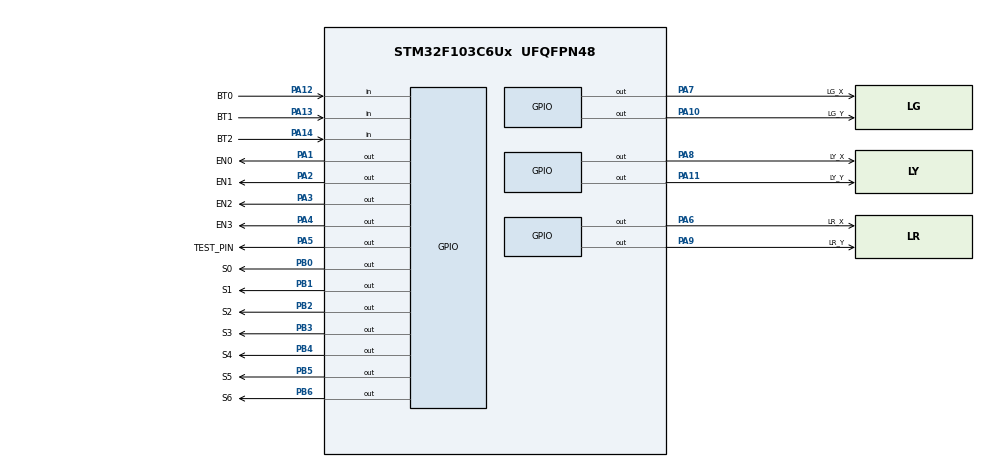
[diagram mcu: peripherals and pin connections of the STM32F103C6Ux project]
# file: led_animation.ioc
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Mcu.Family=STM32F1
Mcu.Name=STM32F103C6Ux
Mcu.Package=UFQFPN48
NVIC.PriorityGroup=NVIC_PRIORITYGROUP_4
NVIC.TIM2_IRQn=true\:0\:0\:false\:false\:true\:true\:true
PA1.GPIO_Label=EN0
PA1.Signal=GPIO_Output
PA10.GPIO_Label=LG_Y
PA10.Signal=GPIO_Output
PA11.GPIO_Label=LY_Y
PA11.Signal=GPIO_Output
PA12.GPIO_Label=BT0
PA12.GPIO_PuPd=GPIO_PULLUP
PA12.Signal=GPIO_Input
PA13.GPIO_Label=BT1
PA13.GPIO_PuPd=GPIO_PULLUP
PA13.Signal=GPIO_Input
PA14.GPIO_Label=BT2
PA14.GPIO_PuPd=GPIO_PULLUP
PA14.Signal=GPIO_Input
PA2.GPIO_Label=EN1
PA2.Signal=GPIO_Output
PA3.GPIO_Label=EN2
PA3.Signal=GPIO_Output
PA4.GPIO_Label=EN3
PA4.Signal=GPIO_Output
PA5.GPIO_Label=TEST_PIN
PA5.Signal=GPIO_Output
PA6.GPIO_Label=LR_X
PA6.Signal=GPIO_Output
PA7.GPIO_Label=LG_X
PA7.Signal=GPIO_Output
PA8.GPIO_Label=LY_X
PA8.Signal=GPIO_Output
PA9.GPIO_Label=LR_Y
PA9.Signal=GPIO_Output
PB0.GPIO_Label=S0
PB0.Signal=GPIO_Output
PB1.GPIO_Label=S1
PB1.Signal=GPIO_Output
PB2.GPIO_Label=S2
PB2.Signal=GPIO_Output
PB3.GPIO_Label=S3
PB3.Signal=GPIO_Output
PB4.GPIO_Label=S4
PB4.Signal=GPIO_Output
PB5.GPIO_Label=S5
PB5.Signal=GPIO_Output
PB6.GPIO_Label=S6
PB6.Signal=GPIO_Output
ProjectManager.HeapSize=0x200
ProjectManager.StackSize=0x400
ProjectManager.TargetToolchain=STM32CubeIDE
RCC.APB1Freq_Value=8000000
RCC.APB2Freq_Value=8000000
TIM2.Period=9
TIM2.Prescaler=7999
VP_SYS_VS_ND.Mode=No_Debug
VP_TIM2_VS_ClockSourceINT.Mode=Internal
board=custom

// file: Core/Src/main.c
/* USER CODE BEGIN Header */
/**
  ******************************************************************************
  * @file           : main.c
  * @brief          : Main program body
  ******************************************************************************
  * @attention
  *
  * <h2><center>&copy; Copyright (c) 2024 STMicroelectronics.
  * All rights reserved.</center></h2>
  *
  * This software component is licensed by ST under BSD 3-Clause license,
  * the "License"; You may not use this file except in compliance with the
  * License. You may obtain a copy of the License at:
  *                        opensource.org/licenses/BSD-3-Clause
  *
  ******************************************************************************
  */
/* USER CODE END Header */
#include "main.h"

/* USER CODE BEGIN Includes */
#include "timer.h"
#include "button.h"
#include "global.h"
#include "led7_seg.h"
#include "traffic_light.h"
#include "fsm_auto.h"
#include "fsm_manual.h"
#include "fsm_setting.h"
/* USER CODE END Includes */

TIM_HandleTypeDef htim2;

void SystemClock_Config(void);
static void MX_GPIO_Init(void);
static void MX_TIM2_Init(void);

int main(void)
{

  /* MCU Configuration--------------------------------------------------------*/

  /* Reset of all peripherals, Initializes the Flash interface and the Systick. */
  HAL_Init();

  /* Configure the system clock */
  SystemClock_Config();

  /* Initialize all configured peripherals */
  MX_GPIO_Init();
  MX_TIM2_Init();
  /* USER CODE BEGIN 2 */
  HAL_TIM_Base_Start_IT (& htim2 ) ;
  /* USER CODE END 2 */

  /* Infinite loop */
  /* USER CODE BEGIN WHILE */

  SCH_Init();
  SCH_Add_Task(fsm_auto_run, 0, 10);
  SCH_Add_Task(fsm_manual_run, 10, 10);
  SCH_Add_Task(fsm_setting_run, 10, 10);
  SCH_Add_Task(getkeyInput, 10, 10);
  SCH_Add_Task(auto_red_green_run, 10, 0);
  SCH_Add_Task(per_second, 20, 1000);
  SCH_Add_Task(scanled, 20, 250);
  led_traffic(RED_GREEN);

  while (1)
  {

	  SCH_Dispatch_Task();

    /* USER CODE END WHILE */

  }
}

void SystemClock_Config(void)
{
  RCC_OscInitTypeDef RCC_OscInitStruct = {0};
  RCC_ClkInitTypeDef RCC_ClkInitStruct = {0};

  /** Initializes the RCC Oscillators according to the specified parameters
  * in the RCC_OscInitTypeDef structure.
  */
  RCC_OscInitStruct.OscillatorType = RCC_OSCILLATORTYPE_HSI;
  RCC_OscInitStruct.HSIState = RCC_HSI_ON;
  RCC_OscInitStruct.HSICalibrationValue = RCC_HSICALIBRATION_DEFAULT;
  RCC_OscInitStruct.PLL.PLLState = RCC_PLL_NONE;
  if (HAL_RCC_OscConfig(&RCC_OscInitStruct) != HAL_OK)
  {
    Error_Handler();
  }
  /** Initializes the CPU, AHB and APB buses clocks
  */
  RCC_ClkInitStruct.ClockType = RCC_CLOCKTYPE_HCLK|RCC_CLOCKTYPE_SYSCLK
                              |RCC_CLOCKTYPE_PCLK1|RCC_CLOCKTYPE_PCLK2;
  RCC_ClkInitStruct.SYSCLKSource = RCC_SYSCLKSOURCE_HSI;
  RCC_ClkInitStruct.AHBCLKDivider = RCC_SYSCLK_DIV1;
  RCC_ClkInitStruct.APB1CLKDivider = RCC_HCLK_DIV1;
  RCC_ClkInitStruct.APB2CLKDivider = RCC_HCLK_DIV1;

  if (HAL_RCC_ClockConfig(&RCC_ClkInitStruct, FLASH_LATENCY_0) != HAL_OK)
  {
    Error_Handler();
  }
}

static void MX_TIM2_Init(void)
{

  TIM_ClockConfigTypeDef sClockSourceConfig = {0};
  TIM_MasterConfigTypeDef sMasterConfig = {0};

  htim2.Instance = TIM2;
  htim2.Init.Prescaler = 7999;
  htim2.Init.CounterMode = TIM_COUNTERMODE_UP;
  htim2.Init.Period = 9;
  htim2.Init.ClockDivision = TIM_CLOCKDIVISION_DIV1;
  htim2.Init.AutoReloadPreload = TIM_AUTORELOAD_PRELOAD_DISABLE;
  if (HAL_TIM_Base_Init(&htim2) != HAL_OK)
  {
    Error_Handler();
  }
  sClockSourceConfig.ClockSource = TIM_CLOCKSOURCE_INTERNAL;
  if (HAL_TIM_ConfigClockSource(&htim2, &sClockSourceConfig) != HAL_OK)
  {
    Error_Handler();
  }
  sMasterConfig.MasterOutputTrigger = TIM_TRGO_RESET;
  sMasterConfig.MasterSlaveMode = TIM_MASTERSLAVEMODE_DISABLE;
  if (HAL_TIMEx_MasterConfigSynchronization(&htim2, &sMasterConfig) != HAL_OK)
  {
    Error_Handler();
  }

}

static void MX_GPIO_Init(void)
{
  GPIO_InitTypeDef GPIO_InitStruct = {0};

  /* GPIO Ports Clock Enable */
  __HAL_RCC_GPIOA_CLK_ENABLE();
  __HAL_RCC_GPIOB_CLK_ENABLE();

  /*Configure GPIO pin Output Level */
  HAL_GPIO_WritePin(GPIOA, EN0_Pin|EN1_Pin|EN2_Pin|EN3_Pin
                          |TEST_PIN_Pin|LR_X_Pin|LG_X_Pin|LY_X_Pin
                          |LR_Y_Pin|LG_Y_Pin|LY_Y_Pin, GPIO_PIN_RESET);

  /*Configure GPIO pin Output Level */
  HAL_GPIO_WritePin(GPIOB, S0_Pin|S1_Pin|S2_Pin|S3_Pin
                          |S4_Pin|S5_Pin|S6_Pin, GPIO_PIN_RESET);

  /*Configure GPIO pins : EN0_Pin EN1_Pin EN2_Pin EN3_Pin
                           TEST_PIN_Pin LR_X_Pin LG_X_Pin LY_X_Pin
                           LR_Y_Pin LG_Y_Pin LY_Y_Pin */
  GPIO_InitStruct.Pin = EN0_Pin|EN1_Pin|EN2_Pin|EN3_Pin
                          |TEST_PIN_Pin|LR_X_Pin|LG_X_Pin|LY_X_Pin
                          |LR_Y_Pin|LG_Y_Pin|LY_Y_Pin;
  GPIO_InitStruct.Mode = GPIO_MODE_OUTPUT_PP;
  GPIO_InitStruct.Pull = GPIO_NOPULL;
  GPIO_InitStruct.Speed = GPIO_SPEED_FREQ_LOW;
  HAL_GPIO_Init(GPIOA, &GPIO_InitStruct);

  /*Configure GPIO pins : S0_Pin S1_Pin S2_Pin S3_Pin
                           S4_Pin S5_Pin S6_Pin */
  GPIO_InitStruct.Pin = S0_Pin|S1_Pin|S2_Pin|S3_Pin
                          |S4_Pin|S5_Pin|S6_Pin;
  GPIO_InitStruct.Mode = GPIO_MODE_OUTPUT_PP;
  GPIO_InitStruct.Pull = GPIO_NOPULL;
  GPIO_InitStruct.Speed = GPIO_SPEED_FREQ_LOW;
  HAL_GPIO_Init(GPIOB, &GPIO_InitStruct);

  /*Configure GPIO pins : BT0_Pin BT1_Pin BT2_Pin */
  GPIO_InitStruct.Pin = BT0_Pin|BT1_Pin|BT2_Pin;
  GPIO_InitStruct.Mode = GPIO_MODE_INPUT;
  GPIO_InitStruct.Pull = GPIO_PULLUP;
  HAL_GPIO_Init(GPIOA, &GPIO_InitStruct);

}

/* USER CODE BEGIN 4 */
void HAL_TIM_PeriodElapsedCallback ( TIM_HandleTypeDef * htim ){
	SCH_Update();
}

/* USER CODE END 4 */

void Error_Handler(void)
{
  __disable_irq();
  while (1)
  {
  }
}

/************************ (C) COPYRIGHT STMicroelectronics *****END OF FILE****/
